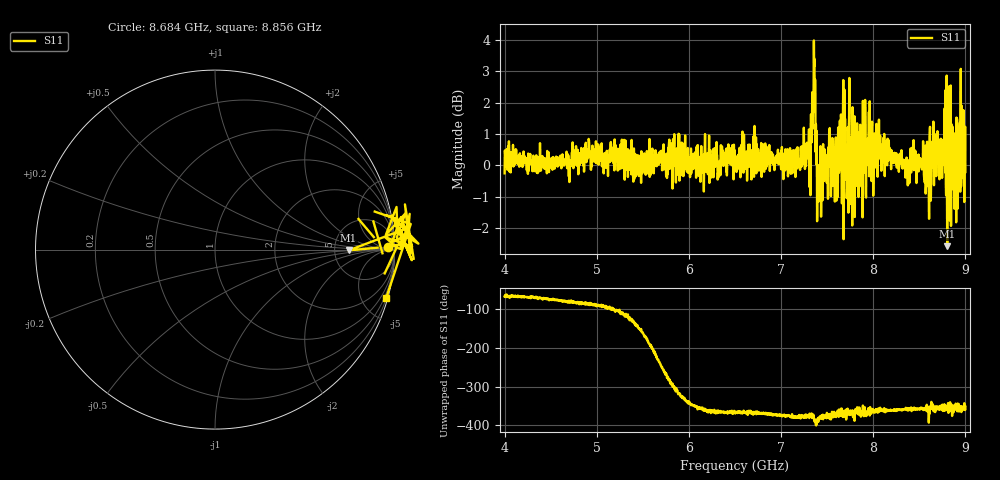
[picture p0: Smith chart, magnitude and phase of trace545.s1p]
! Created with skrf 1.8.0 (http://scikit-rf.org).
# Hz S RI R 50.0
!freq ReS11 ImS11
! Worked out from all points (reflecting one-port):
!   1601 points, 4 GHz to 9 GHz, reference 50 ohm
!   lowest |S11| = -2.6 dB at 8.803 GHz (marker M1), VSWR 6.81, Z = 340 - j7.16 ohm
!   phase of S11 starts at -67 deg and turns -285 deg over the sweep
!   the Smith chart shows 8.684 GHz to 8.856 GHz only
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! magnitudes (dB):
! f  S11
! 4 GHz  -0.3
! 4.625 GHz  0.1
! 5.25 GHz  0.0
! 5.875 GHz  -0.1
! 6.5 GHz  0.1
! 7.125 GHz  0.5
! 7.294 GHz  0.4
! 7.347 GHz  2.2
! 7.362 GHz  3.4
! 7.4 GHz  0.0
! 7.416 GHz  -0.9
! 7.481 GHz  0.2
! 7.591 GHz  0.7
! 7.65 GHz  1.6
! 7.703 GHz  -0.2
! 7.75 GHz  -0.7
! 7.769 GHz  -0.8
! 7.834 GHz  0.5
! 8.05 GHz  1.0
! 8.375 GHz  -0.6
! 8.441 GHz  -0.2
! 8.584 GHz  0.8
! 8.656 GHz  0.8
! 8.803 GHz  -2.6
! 8.834 GHz  2.1
! 8.875 GHz  0.0
! 8.959 GHz  1.9
! 9 GHz  -0.2
